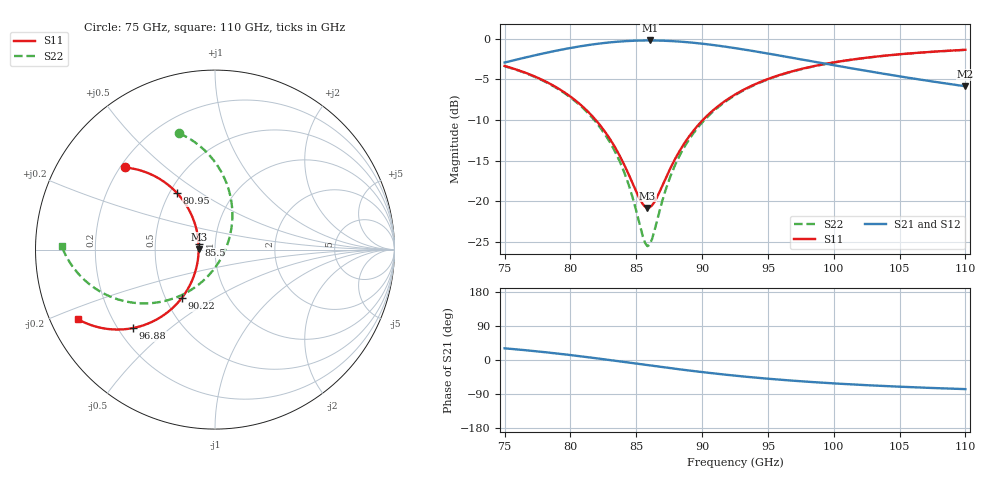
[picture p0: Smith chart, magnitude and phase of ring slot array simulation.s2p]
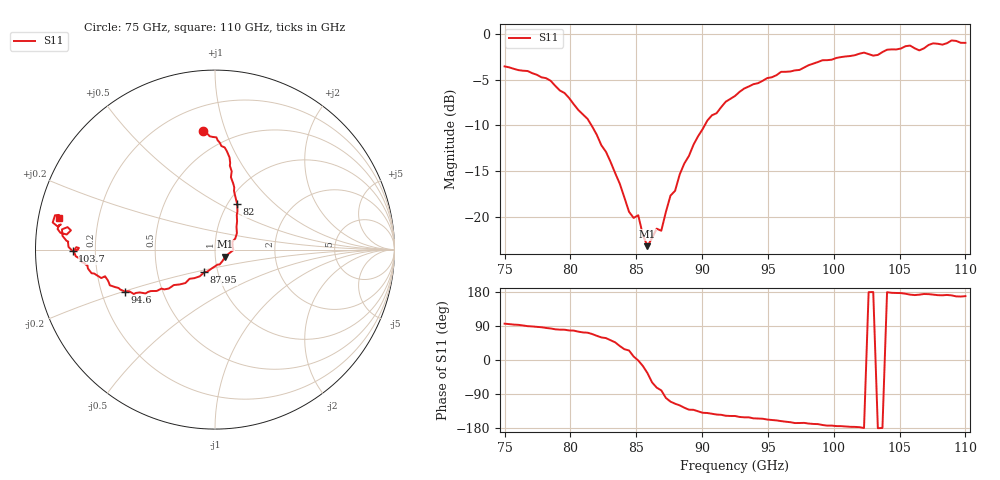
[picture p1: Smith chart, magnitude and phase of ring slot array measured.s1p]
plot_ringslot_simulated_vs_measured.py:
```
import pylab
import skrf as rf 

# from the extension you know this is a 2-port network
ring_slot_sim = rf.Network('ring slot array simulation.s2p')
ring_slot_meas = rf.Network('ring slot array measured.s1p')

pylab.figure(1)
pylab.title('WR-10 Ringslot Array Simulated vs Measured')
# if no indecies are passed to the plot command it will plot all 
# available s-parameters
ring_slot_sim.plot_s_db(0,0, label='Simulated')
ring_slot_meas.plot_s_db(0,0, label='Measured')
pylab.show()
```
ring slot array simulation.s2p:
! Touchstone file from project skinDepth
! Exported from HFSS 12.1.1
! Variables:
!  a = 1.1mm
!  d = 127um
!  epsR = 3.48mm
!  f0 = 94GHz
!  fMax = 110GHz
!  fMin = 75GHz
!  lam0 = c0/f0
!  lamMax = c0/fMin
!  lamMin = c0/fMax
!  n = sqrt(epsR)
!  prop = lamMax/4
!  r0 = lam0/(2*pi*rMult)
!  r0_short = (r_out_short+r_in_short)/2
!  rMult = 1.2625
!  r_in = r0-w/2
!  r_in_short = r_out+tlineW
!  r_out = r0+w/2
!  r_out_short = r_in_short+tlineW
!  t = 0.7um
!  theta1 = 15deg
!  tlineW = 0.004mm
!  w = r0/10
!Data is not renormalized
# GHZ S MA
! Modal data exported
! Port[1] = 1:1
! Port[2] = 2:1
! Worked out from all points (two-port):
!   201 points, 75 GHz to 110 GHz, reference per port
!   highest |S21| = -0.20 dB at 86.03 GHz (marker M1); lowest = -5.8 dB at 110 GHz (marker M2)
!   |S21| within 3 dB of the highest: start of sweep to 99.82 GHz
!   lowest |S11| = -20.8 dB at 85.85 GHz (marker M3), VSWR 1.20
!   |S11| at or under -10 dB: 81.92 GHz to 90.06 GHz (8.137 GHz wide, 9.46 % of centre)
!   |S22| runs from -25.6 to -1.4 dB; largest |S21 - S12| = 2.8e-15
!   S11 on the Smith chart (normalised r, x): 75 GHz: 0.22, +0.37; 80.95 GHz: 0.54, +0.40; 85.5 GHz: 0.83, +0.05; 90.22 GHz: 0.61, -0.36; 96.88 GHz: 0.26, -0.38; 110 GHz: 0.08, -0.24
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75  0.6807 137.7  0.7147 30.9  0.7147 30.9  0.6784 107.1
80.95  0.381 124.0  0.9055 9.0  0.9055 9.0  0.3745 80.1
83.575  0.2018 126.0  0.9605 -2.8  0.9605 -2.8  0.188 59.3
85.5  0.09566 162.7  0.9771 -11.9  0.9771 -11.9  0.06053 5.5
85.85  0.09088 177.8  0.9777 -13.5  0.9777 -13.5  0.05274 -23.3
86.025  0.09152 -174.4  0.9777 -14.3  0.9777 -14.3  0.05392 -38.8
87.95  0.1819 -129.4  0.9662 -23.1  0.9662 -23.1  0.1668 -107.5
90.225  0.3265 -124.5  0.9295 -32.8  0.9295 -32.8  0.3191 -126.7
92.5  0.4536 -127.7  0.8771 -41.3  0.8771 -41.3  0.449 -138.7
96.875  0.632 -136.2  0.7636 -54.5  0.7636 -54.5  0.6296 -154.9
110  0.8562 -153.0  0.5101 -76.8  0.5101 -76.8  0.8554 178.6
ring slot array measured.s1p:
!Created with mwavepy.
# GHz S RI R 50.0
!freq	ReS11	ImS11
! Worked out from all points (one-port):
!   101 points, 75 GHz to 110 GHz, reference 50 ohm
!   lowest |S11| = -23.1 dB at 85.85 GHz (marker M1), VSWR 1.15, Z = 55.9 - j4.45 ohm
!   |S11| at or under -10 dB: 81.61 GHz to 90.19 GHz (8.587 GHz wide, 10 % of centre)
!   S11 on the Smith chart (normalised r, x): 75 GHz: 0.36, +0.84; 82 GHz: 1.11, +0.61; 87.95 GHz: 0.86, -0.22; 94.6 GHz: 0.30, -0.20; 103.7 GHz: 0.12, -0.01; 110 GHz: 0.06, +0.10
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75  -0.0677 0.6592
! Port Impedance 50.00000000000000 0.00000000000000
78.5  0.0655 0.5495
82  0.124 0.2527
84.45  0.0973 0.0455
85.15  0.1028 -0.00213
85.85  0.0575 -0.0396
86.9  0.0144 -0.0835
87.95  -0.0599 -0.1262
90.4  -0.2572 -0.2167
94.6  -0.5016 -0.2336
98.45  -0.6729 -0.1335
103.7  -0.7929 -0.00869
106.15  -0.8215 0.1253
110  -0.8718 0.1774
